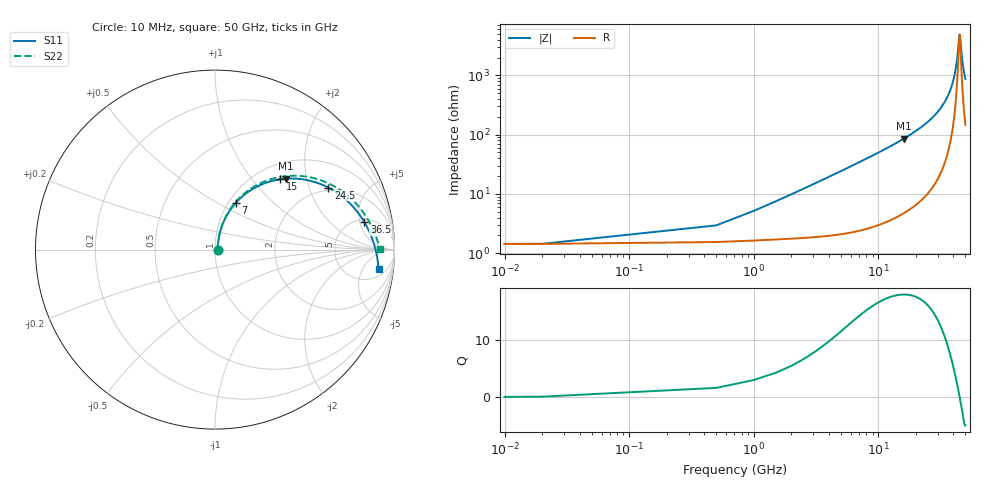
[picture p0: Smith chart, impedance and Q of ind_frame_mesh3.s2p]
! Created with skrf 2.1.0 (http://scikit-rf.org).
# GHz S DB R 50.0
! Port[1] = P1
! Port[2] = P2
!freq dBS11 angS11 dBS21 angS21 dBS12 angS12 dBS22 angS22
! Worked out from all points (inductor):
!   102 points, 10 MHz to 50 GHz, reference 50 ohm
!   read as 1/Y11, port 2 shorted: L = 774 pH near 1 GHz
!   highest Q = 18.1 at 16 GHz (marker M1), where L = 850 pH
!   self-resonance near 44.5 GHz
!   S11 on the Smith chart (normalised r, x): 10 MHz: 1.03, +0.00; 7 GHz: 1.08, +0.62; 15 GHz: 1.28, +1.41; 24.5 GHz: 1.89, +2.71; 36.5 GHz: 5.52, +5.93; 50 GHz: 8, -11
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0.01  -36.98 2.0  -0.12 -0.0  -0.12 -0.0  -36.98 2.0
0.5  -31.43 54.3  -0.14 -1.6  -0.14 -1.6  -31.42 54.3
1  -26.71 67.2  -0.15 -3.1  -0.15 -3.1  -26.71 67.3
1.5  -23.55 71.6  -0.17 -4.5  -0.17 -4.5  -23.55 71.8
2  -21.20 73.4  -0.19 -6.0  -0.19 -6.0  -21.20 73.6
3  -17.82 73.7  -0.24 -8.8  -0.24 -8.8  -17.83 74.1
4  -15.42 72.5  -0.31 -11.7  -0.31 -11.7  -15.43 72.9
5.5  -12.79 69.4  -0.43 -15.9  -0.43 -15.9  -12.80 70.1
7  -10.86 65.9  -0.59 -19.9  -0.59 -19.9  -10.87 66.7
8.5  -9.36 62.3  -0.77 -23.9  -0.77 -23.9  -9.37 63.3
11.5  -7.17 55.0  -1.20 -31.3  -1.20 -31.3  -7.18 56.4
15  -5.43 47.1  -1.79 -39.3  -1.79 -39.3  -5.44 48.9
16  -5.04 44.9  -1.97 -41.5  -1.97 -41.5  -5.05 46.9
17  -4.69 42.8  -2.16 -43.6  -2.16 -43.6  -4.70 44.9
20.5  -3.69 35.9  -2.83 -50.4  -2.83 -50.4  -3.70 38.4
24.5  -2.86 28.7  -3.64 -57.5  -3.64 -57.5  -2.87 31.7
25.5  -2.69 27.0  -3.84 -59.2  -3.84 -59.2  -2.70 30.2
29.5  -2.13 20.6  -4.67 -65.4  -4.67 -65.4  -2.14 24.3
33.5  -1.70 14.6  -5.51 -71.2  -5.51 -71.2  -1.71 18.9
36.5  -1.45 10.4  -6.15 -75.2  -6.15 -75.2  -1.46 15.2
42  -1.10 3.1  -7.35 -82.1  -7.35 -82.1  -1.11 8.8
50  -0.74 -6.7  -9.16 -91.4  -9.16 -91.4  -0.75 0.4
